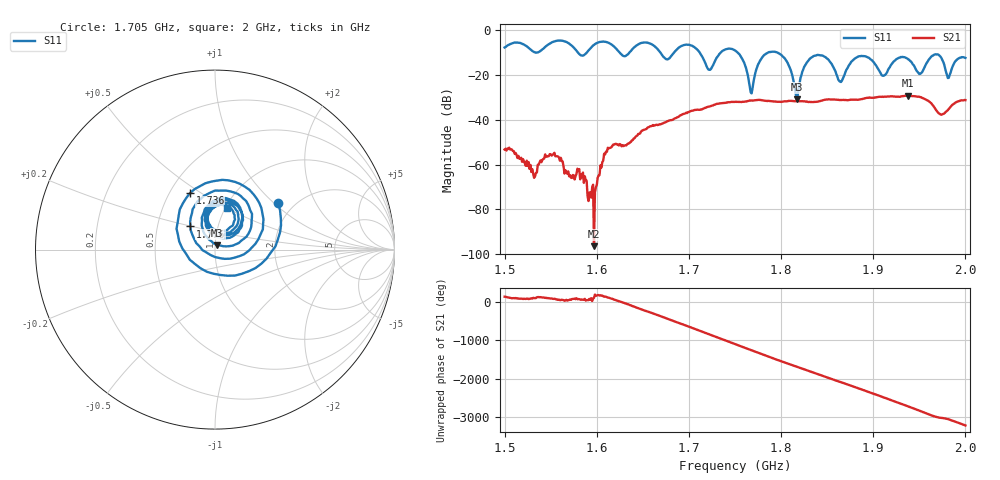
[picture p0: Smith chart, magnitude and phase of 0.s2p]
! NanoVNA-App by SYSJOINT et al v1.1.209 (+OD18)
! Date: 2026-01-21 14:42:17
! Start: 1,5GHz Stop: 2GHz Points: 501
! S-Parameter data: F S11 S21 S12 S22
# Hz S RI R 50
!  Frequency  S11_Real  S11_Imag  S21_Real  S21_Imag  S12_Real  S12_Imag  S22_Real  S22_Imag
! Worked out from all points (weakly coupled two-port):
!   501 points, 1.5 GHz to 2 GHz, reference 50 ohm
!   highest |S21| = -29.15 dB at 1.938 GHz (marker M1); lowest = -96.6 dB at 1.597 GHz (marker M2)
!   lowest |S11| = -30.9 dB at 1.817 GHz (marker M3), VSWR 1.06, Z = 51 + j2.7 ohm
!   |S11| at or under -10 dB: 1.712 GHz to 1.734 GHz (22.31 MHz wide, 1.29 % of centre); 1.753 GHz to 1.785 GHz (32.32 MHz wide, 1.83 % of centre); 1.797 GHz to end of sweep (the widest 3 of 6)
!   S12 and S22 are empty: the file has one direction only
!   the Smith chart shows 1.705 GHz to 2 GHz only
!   S11 on the Smith chart (normalised r, x): 1.705 GHz: 1.66, +1.06; 1.736 GHz: 0.63, +0.45; 1.776 GHz: 0.74, +0.20; 2 GHz: 1.02, +0.51
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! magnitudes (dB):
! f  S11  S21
! 1.5 GHz  -7.6  -53.3
! 1.584 GHz  -11.2  -65.6
! 1.597 GHz  -6.5  -96.6
! 1.612 GHz  -5.4  -52.5
! 1.667 GHz  -8.9  -42.2
! 1.705 GHz  -7.2  -35.8
! 1.722 GHz  -17.6  -34.0
! 1.736 GHz  -9.3  -32.5
! 1.75 GHz  -8.9  -31.9
! 1.767 GHz  -27.6  -31.4
! 1.776 GHz  -14.5  -31.0
! 1.8 GHz  -10.9  -32.0
! 1.817 GHz  -30.9  -31.6
! 1.834 GHz  -11.9  -32.0
! 1.864 GHz  -22.9  -31.1
! 1.885 GHz  -11.5  -30.9
! 1.917 GHz  -17.0  -29.5
! 1.938 GHz  -12.9  -29.2
! 1.951 GHz  -19.4  -29.8
! 1.97 GHz  -10.7  -36.5
! 1.982 GHz  -21.2  -35.1
! 2 GHz  -12.3  -31.2
